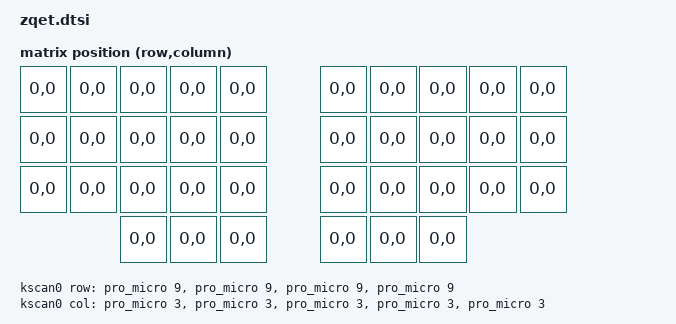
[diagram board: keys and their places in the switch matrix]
#include <dt-bindings/zmk/matrix_transform.h>

/ {

  chosen {
    zmk,kscan = &kscan0;
    zmk,matrix_transform = &default_transform;
  };

  kscan0: kscan {
    compatible = "zmk,kscan-gpio-matrix";
    label = "KSCAN";
    diode-direction = "col2row";
    col-gpios =
      <&pro_micro 3 GPIO_ACTIVE_HIGH>,
      <&pro_micro 3 GPIO_ACTIVE_HIGH>,
      <&pro_micro 3 GPIO_ACTIVE_HIGH>,
      <&pro_micro 3 GPIO_ACTIVE_HIGH>,
      <&pro_micro 3 GPIO_ACTIVE_HIGH>
    ;
    row-gpios =
      <&pro_micro 9 (GPIO_ACTIVE_HIGH | GPIO_PULL_DOWN)>,
      <&pro_micro 9 (GPIO_ACTIVE_HIGH | GPIO_PULL_DOWN)>,
      <&pro_micro 9 (GPIO_ACTIVE_HIGH | GPIO_PULL_DOWN)>,
      <&pro_micro 9 (GPIO_ACTIVE_HIGH | GPIO_PULL_DOWN)>
    ;
  };

  default_transform: keymap_transform_0 {
    compatible = "zmk,matrix-transform";
    columns = <10>;
    rows = <4>;
    map = <
      RC(0,0) RC(0,0) RC(0,0) RC(0,0) RC(0,0)  RC(0,0) RC(0,0) RC(0,0) RC(0,0) RC(0,0)
      RC(0,0) RC(0,0) RC(0,0) RC(0,0) RC(0,0)  RC(0,0) RC(0,0) RC(0,0) RC(0,0) RC(0,0)
      RC(0,0) RC(0,0) RC(0,0) RC(0,0) RC(0,0)  RC(0,0) RC(0,0) RC(0,0) RC(0,0) RC(0,0)
              RC(0,0) RC(0,0) RC(0,0)  RC(0,0) RC(0,0) RC(0,0)
    >;
  };
};
